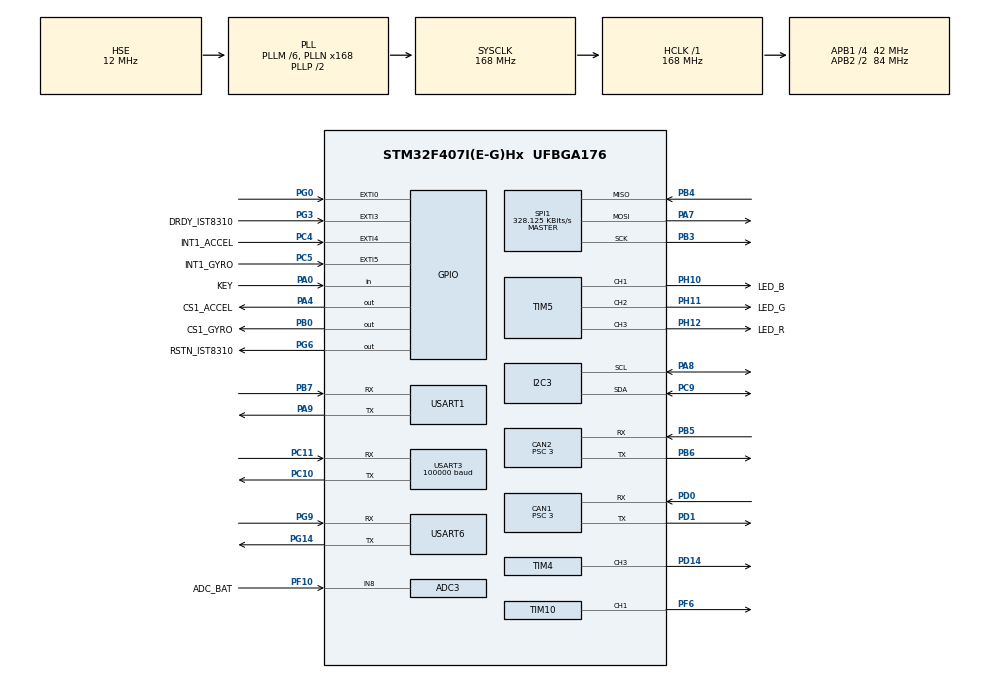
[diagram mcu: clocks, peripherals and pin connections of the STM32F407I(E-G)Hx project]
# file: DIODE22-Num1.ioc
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ADC1.Channel-0\#ChannelRegularConversion=ADC_CHANNEL_TEMPSENSOR
ADC1.ClockPrescaler=ADC_CLOCK_SYNC_PCLK_DIV6
ADC1.NbrOfConversionFlag=1
ADC1.Rank-0\#ChannelRegularConversion=1
ADC1.SamplingTime-0\#ChannelRegularConversion=ADC_SAMPLETIME_3CYCLES
ADC1.master=1
ADC3.Channel-0\#ChannelRegularConversion=ADC_CHANNEL_8
ADC3.ClockPrescaler=ADC_CLOCK_SYNC_PCLK_DIV6
ADC3.NbrOfConversionFlag=1
ADC3.Rank-0\#ChannelRegularConversion=1
ADC3.SamplingTime-0\#ChannelRegularConversion=ADC_SAMPLETIME_3CYCLES
CAN1.ABOM=DISABLE
CAN1.BS1=CAN_BS1_10TQ
CAN1.BS2=CAN_BS2_3TQ
CAN1.CalculateBaudRate=1000000
CAN1.CalculateTimeBit=999.99
CAN1.CalculateTimeQuantum=71.42857142857143
CAN1.Prescaler=3
CAN2.BS1=CAN_BS1_10TQ
CAN2.BS2=CAN_BS2_3TQ
CAN2.CalculateBaudRate=1000000
CAN2.CalculateTimeBit=999.99
CAN2.CalculateTimeQuantum=71.42857142857143
CAN2.Prescaler=3
Dma.Request0=SPI1_RX
Dma.Request1=SPI1_TX
Dma.Request2=USART1_RX
Dma.Request3=USART1_TX
Dma.Request4=USART6_RX
Dma.Request5=USART6_TX
Dma.Request6=USART3_RX
Dma.SPI1_RX.0.Direction=DMA_PERIPH_TO_MEMORY
Dma.SPI1_RX.0.FIFOMode=DMA_FIFOMODE_DISABLE
Dma.SPI1_RX.0.Instance=DMA2_Stream2
Dma.SPI1_RX.0.MemDataAlignment=DMA_MDATAALIGN_BYTE
Dma.SPI1_RX.0.MemInc=DMA_MINC_ENABLE
Dma.SPI1_RX.0.Mode=DMA_NORMAL
Dma.SPI1_RX.0.PeriphDataAlignment=DMA_PDATAALIGN_BYTE
Dma.SPI1_RX.0.PeriphInc=DMA_PINC_DISABLE
Dma.SPI1_RX.0.Priority=DMA_PRIORITY_VERY_HIGH
Dma.SPI1_TX.1.Direction=DMA_MEMORY_TO_PERIPH
Dma.SPI1_TX.1.FIFOMode=DMA_FIFOMODE_DISABLE
Dma.SPI1_TX.1.Instance=DMA2_Stream3
Dma.SPI1_TX.1.MemDataAlignment=DMA_MDATAALIGN_BYTE
Dma.SPI1_TX.1.MemInc=DMA_MINC_ENABLE
Dma.SPI1_TX.1.Mode=DMA_NORMAL
Dma.SPI1_TX.1.PeriphDataAlignment=DMA_PDATAALIGN_BYTE
Dma.SPI1_TX.1.PeriphInc=DMA_PINC_DISABLE
Dma.SPI1_TX.1.Priority=DMA_PRIORITY_HIGH
Dma.USART1_RX.2.Direction=DMA_PERIPH_TO_MEMORY
Dma.USART1_RX.2.FIFOMode=DMA_FIFOMODE_DISABLE
Dma.USART1_RX.2.Instance=DMA2_Stream5
Dma.USART1_RX.2.MemDataAlignment=DMA_MDATAALIGN_BYTE
Dma.USART1_RX.2.MemInc=DMA_MINC_ENABLE
Dma.USART1_RX.2.Mode=DMA_NORMAL
Dma.USART1_RX.2.PeriphDataAlignment=DMA_PDATAALIGN_BYTE
Dma.USART1_RX.2.PeriphInc=DMA_PINC_DISABLE
Dma.USART1_RX.2.Priority=DMA_PRIORITY_HIGH
Dma.USART1_TX.3.Direction=DMA_MEMORY_TO_PERIPH
Dma.USART1_TX.3.FIFOMode=DMA_FIFOMODE_DISABLE
Dma.USART1_TX.3.Instance=DMA2_Stream7
Dma.USART1_TX.3.MemDataAlignment=DMA_MDATAALIGN_BYTE
Dma.USART1_TX.3.MemInc=DMA_MINC_ENABLE
Dma.USART1_TX.3.Mode=DMA_NORMAL
Dma.USART1_TX.3.PeriphDataAlignment=DMA_PDATAALIGN_BYTE
Dma.USART1_TX.3.PeriphInc=DMA_PINC_DISABLE
Dma.USART1_TX.3.Priority=DMA_PRIORITY_HIGH
Dma.USART3_RX.6.Direction=DMA_PERIPH_TO_MEMORY
Dma.USART3_RX.6.FIFOMode=DMA_FIFOMODE_DISABLE
Dma.USART3_RX.6.Instance=DMA1_Stream1
Dma.USART3_RX.6.MemDataAlignment=DMA_MDATAALIGN_BYTE
Dma.USART3_RX.6.MemInc=DMA_MINC_ENABLE
Dma.USART3_RX.6.Mode=DMA_CIRCULAR
Dma.USART3_RX.6.PeriphDataAlignment=DMA_PDATAALIGN_BYTE
Dma.USART3_RX.6.PeriphInc=DMA_PINC_DISABLE
Dma.USART3_RX.6.Priority=DMA_PRIORITY_LOW
Dma.USART6_RX.4.Direction=DMA_PERIPH_TO_MEMORY
Dma.USART6_RX.4.FIFOMode=DMA_FIFOMODE_DISABLE
Dma.USART6_RX.4.Instance=DMA2_Stream1
Dma.USART6_RX.4.MemDataAlignment=DMA_MDATAALIGN_BYTE
Dma.USART6_RX.4.MemInc=DMA_MINC_ENABLE
Dma.USART6_RX.4.Mode=DMA_CIRCULAR
Dma.USART6_RX.4.PeriphDataAlignment=DMA_PDATAALIGN_BYTE
Dma.USART6_RX.4.PeriphInc=DMA_PINC_DISABLE
Dma.USART6_RX.4.Priority=DMA_PRIORITY_LOW
Dma.USART6_TX.5.Direction=DMA_MEMORY_TO_PERIPH
Dma.USART6_TX.5.FIFOMode=DMA_FIFOMODE_DISABLE
Dma.USART6_TX.5.Instance=DMA2_Stream6
Dma.USART6_TX.5.MemDataAlignment=DMA_MDATAALIGN_BYTE
Dma.USART6_TX.5.MemInc=DMA_MINC_ENABLE
Dma.USART6_TX.5.Mode=DMA_NORMAL
Dma.USART6_TX.5.PeriphDataAlignment=DMA_PDATAALIGN_BYTE
Dma.USART6_TX.5.PeriphInc=DMA_PINC_DISABLE
Dma.USART6_TX.5.Priority=DMA_PRIORITY_LOW
FREERTOS.INCLUDE_eTaskGetState=1
FREERTOS.INCLUDE_pcTaskGetTaskName=1
FREERTOS.INCLUDE_uxTaskGetStackHighWaterMark=1
FREERTOS.INCLUDE_vTaskCleanUpResources=1
FREERTOS.INCLUDE_vTaskDelayUntil=1
FREERTOS.INCLUDE_xEventGroupSetBitFromISR=1
FREERTOS.INCLUDE_xQueueGetMutexHolder=1
FREERTOS.INCLUDE_xSemaphoreGetMutexHolder=1
FREERTOS.INCLUDE_xTaskAbortDelay=1
FREERTOS.INCLUDE_xTaskGetCurrentTaskHandle=1
FREERTOS.INCLUDE_xTaskGetHandle=1
FREERTOS.INCLUDE_xTimerPendFunctionCall=1
FREERTOS.Tasks01=defaultTask,0,128,StartDefaultTask,Default,NULL,Dynamic,NULL,NULL
FREERTOS.configMAX_PRIORITIES=15
FREERTOS.configTOTAL_HEAP_SIZE=24576
FREERTOS.configUSE_TIMERS=1
I2C3.I2C_Mode=I2C_Fast
Mcu.Family=STM32F4
Mcu.Name=STM32F407I(E-G)Hx
Mcu.Package=UFBGA176
NVIC.CAN1_RX0_IRQn=true\:5\:0\:false\:false\:true\:true\:true\:true
NVIC.CAN2_RX0_IRQn=true\:5\:0\:false\:false\:true\:true\:true\:true
NVIC.DMA1_Stream1_IRQn=true\:5\:0\:false\:false\:true\:true\:false\:true
NVIC.DMA2_Stream1_IRQn=true\:5\:0\:false\:false\:true\:true\:false\:true
NVIC.DMA2_Stream2_IRQn=true\:5\:0\:false\:false\:true\:true\:false\:true
NVIC.DMA2_Stream3_IRQn=true\:5\:0\:false\:false\:true\:true\:false\:true
NVIC.DMA2_Stream5_IRQn=true\:5\:0\:false\:false\:true\:true\:false\:true
NVIC.DMA2_Stream6_IRQn=true\:5\:0\:false\:false\:true\:true\:false\:true
NVIC.DMA2_Stream7_IRQn=true\:5\:0\:false\:false\:true\:true\:false\:true
NVIC.EXTI0_IRQn=true\:5\:0\:false\:false\:true\:true\:true\:true
NVIC.EXTI3_IRQn=true\:5\:0\:false\:false\:true\:true\:true\:true
NVIC.EXTI4_IRQn=true\:5\:0\:false\:false\:true\:true\:true\:true
NVIC.EXTI9_5_IRQn=true\:5\:0\:false\:false\:true\:true\:true\:true
NVIC.PriorityGroup=NVIC_PRIORITYGROUP_4
NVIC.USART1_IRQn=true\:5\:0\:false\:false\:true\:true\:true\:true
NVIC.USART3_IRQn=true\:5\:0\:false\:false\:true\:true\:true\:true
NVIC.USART6_IRQn=true\:5\:0\:false\:false\:true\:true\:true\:true
PA0-WKUP.GPIO_Label=KEY
PA0-WKUP.GPIO_PuPd=GPIO_PULLUP
PA0-WKUP.Signal=GPIO_Input
PA13.Mode=Serial_Wire
PA13.Signal=SYS_JTMS-SWDIO
PA14.Mode=Serial_Wire
PA14.Signal=SYS_JTCK-SWCLK
PA4.GPIO_Label=CS1_ACCEL
PA4.GPIO_PuPd=GPIO_PULLUP
PA4.GPIO_Speed=GPIO_SPEED_FREQ_HIGH
PA4.PinState=GPIO_PIN_SET
PA4.Signal=GPIO_Output
PA7.Mode=Full_Duplex_Master
PA7.Signal=SPI1_MOSI
PA8.GPIO_Pu=GPIO_PULLUP
PA8.Mode=I2C
PA8.Signal=I2C3_SCL
PA9.Mode=Asynchronous
PA9.Signal=USART1_TX
PB0.GPIO_Label=CS1_GYRO
PB0.GPIO_PuPd=GPIO_PULLUP
PB0.GPIO_Speed=GPIO_SPEED_FREQ_HIGH
PB0.PinState=GPIO_PIN_SET
PB0.Signal=GPIO_Output
PB3.Mode=Full_Duplex_Master
PB3.Signal=SPI1_SCK
PB4.Mode=Full_Duplex_Master
PB4.Signal=SPI1_MISO
PB5.Mode=CAN_Activate
PB5.Signal=CAN2_RX
PB6.Mode=CAN_Activate
PB6.Signal=CAN2_TX
PB7.Mode=Asynchronous
PB7.Signal=USART1_RX
PC10.Mode=Asynchronous
PC10.Signal=USART3_TX
PC11.Mode=Asynchronous
PC11.Signal=USART3_RX
PC4.GPIO_Label=INT1_ACCEL
PC4.GPIO_PuPd=GPIO_PULLUP
PC4.Signal=GPXTI4
PC5.GPIO_Label=INT1_GYRO
PC5.Signal=GPXTI5
PC9.GPIO_Pu=GPIO_PULLUP
PC9.Mode=I2C
PC9.Signal=I2C3_SDA
PD0.Mode=CAN_Activate
PD0.Signal=CAN1_RX
PD1.Mode=CAN_Activate
PD1.Signal=CAN1_TX
PD14.GPIO_Speed=GPIO_SPEED_FREQ_VERY_HIGH
PD14.Signal=S_TIM4_CH3
PF10.GPIO_Label=ADC_BAT
PF10.Mode=IN8
PF10.Signal=ADC3_IN8
PF6.GPIO_PuPd=GPIO_PULLUP
PF6.GPIO_Speed=GPIO_SPEED_FREQ_HIGH
PF6.Signal=S_TIM10_CH1
PG0.GPIO_PuPd=GPIO_PULLUP
PG0.Signal=GPXTI0
PG14.Mode=Asynchronous
PG14.Signal=USART6_TX
PG3.GPIO_Label=DRDY_IST8310
PG3.GPIO_PuPd=GPIO_PULLUP
PG3.Signal=GPXTI3
PG6.GPIO_Label=RSTN_IST8310
PG6.GPIO_PuPd=GPIO_PULLUP
PG6.GPIO_Speed=GPIO_SPEED_FREQ_HIGH
PG6.PinState=GPIO_PIN_SET
PG6.Signal=GPIO_Output
PG9.Mode=Asynchronous
PG9.Signal=USART6_RX
PH0-OSC_IN.Mode=HSE-External-Oscillator
PH0-OSC_IN.Signal=RCC_OSC_IN
PH1-OSC_OUT.Mode=HSE-External-Oscillator
PH1-OSC_OUT.Signal=RCC_OSC_OUT
PH10.GPIO_Label=LED_B
PH10.GPIO_PuPd=GPIO_PULLUP
PH10.GPIO_Speed=GPIO_SPEED_FREQ_VERY_HIGH
PH10.Signal=S_TIM5_CH1
PH11.GPIO_Label=LED_G
PH11.GPIO_PuPd=GPIO_PULLUP
PH11.GPIO_Speed=GPIO_SPEED_FREQ_VERY_HIGH
PH11.Signal=S_TIM5_CH2
PH12.GPIO_Label=LED_R
PH12.GPIO_PuPd=GPIO_PULLUP
PH12.GPIO_Speed=GPIO_SPEED_FREQ_VERY_HIGH
PH12.Signal=S_TIM5_CH3
ProjectManager.HeapSize=0x200
ProjectManager.StackSize=0x400
ProjectManager.TargetToolchain=MDK-ARM V5
RCC.48MHZClocksFreq_Value=84000000
RCC.AHBFreq_Value=168000000
RCC.APB1CLKDivider=RCC_HCLK_DIV4
RCC.APB1Freq_Value=42000000
RCC.APB1TimFreq_Value=84000000
RCC.APB2CLKDivider=RCC_HCLK_DIV2
RCC.APB2Freq_Value=84000000
RCC.APB2TimFreq_Value=168000000
RCC.CortexFreq_Value=168000000
RCC.HCLKFreq_Value=168000000
RCC.HSE_VALUE=12000000
RCC.HSI_VALUE=16000000
RCC.LSE_VALUE=32768
RCC.PLLM=6
RCC.PLLN=168
RCC.PLLSourceVirtual=RCC_PLLSOURCE_HSE
RCC.SYSCLKFreq_VALUE=168000000
RCC.SYSCLKSource=RCC_SYSCLKSOURCE_PLLCLK
RCC.VCOOutputFreq_Value=336000000
SH.S_TIM10_CH1.0=TIM10_CH1,PWM Generation1 CH1
SH.S_TIM4_CH3.0=TIM4_CH3,PWM Generation3 CH3
SH.S_TIM5_CH1.0=TIM5_CH1,PWM Generation1 CH1
SH.S_TIM5_CH2.0=TIM5_CH2,PWM Generation2 CH2
SH.S_TIM5_CH3.0=TIM5_CH3,PWM Generation3 CH3
SPI1.BaudRatePrescaler=SPI_BAUDRATEPRESCALER_256
SPI1.CLKPhase=SPI_PHASE_2EDGE
SPI1.CLKPolarity=SPI_POLARITY_HIGH
SPI1.CalculateBaudRate=328.125 KBits/s
SPI1.Direction=SPI_DIRECTION_2LINES
SPI1.Mode=SPI_MODE_MASTER
SPI1.VirtualType=VM_MASTER
TIM10.Channel=TIM_CHANNEL_1
TIM4.Channel-PWM\ Generation3\ CH3=TIM_CHANNEL_3
TIM5.Channel-PWM\ Generation1\ CH1=TIM_CHANNEL_1
TIM5.Channel-PWM\ Generation2\ CH2=TIM_CHANNEL_2
TIM5.Channel-PWM\ Generation3\ CH3=TIM_CHANNEL_3
USART1.VirtualMode=VM_ASYNC
USART3.BaudRate=100000
USART3.Parity=PARITY_EVEN
USART3.VirtualMode=VM_ASYNC
USART6.VirtualMode=VM_ASYNC
VP_ADC1_TempSens_Input.Mode=IN-TempSens
VP_ADC1_Vref_Input.Mode=IN-Vrefint
VP_CRC_VS_CRC.Mode=CRC_Activate
VP_FREERTOS_VS_CMSIS_V1.Mode=CMSIS_V1
VP_TIM10_VS_ClockSourceINT.Mode=Enable_Timer
VP_TIM4_VS_ClockSourceINT.Mode=Internal
board=custom

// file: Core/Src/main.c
/* USER CODE BEGIN Header */
/**
  ******************************************************************************
  * @file           : main.c
  * @brief          : Main program body
  ******************************************************************************
  * @attention
  *
  * <h2><center>&copy; Copyright (c) 2022 STMicroelectronics.
  * All rights reserved.</center></h2>
  *
  * This software component is licensed by ST under Ultimate Liberty license
  * SLA0044, the "License"; You may not use this file except in compliance with
  * the License. You may obtain a copy of the License at:
  *                             www.st.com/SLA0044
  *
  ******************************************************************************
  */
/* USER CODE END Header */
#include "main.h"
#include "cmsis_os.h"
#include "adc.h"
#include "can.h"
#include "crc.h"
#include "dma.h"
#include "i2c.h"
#include "spi.h"
#include "tim.h"
#include "usart.h"
#include "gpio.h"

/* USER CODE BEGIN PTD */
extern uint8_t tmp_vision;
/* USER CODE END PTD */

void SystemClock_Config(void);
void MX_FREERTOS_Init(void);
/* USER CODE BEGIN PFP */
void BSP_All_Init(void);		// 所有设备初始化
/* USER CODE END PFP */

int main(void)
{

  /* MCU Configuration--------------------------------------------------------*/

  /* Reset of all peripherals, Initializes the Flash interface and the Systick. */
  HAL_Init();

  /* Configure the system clock */
  SystemClock_Config();

  /* Initialize all configured peripherals */
  MX_GPIO_Init();
  MX_DMA_Init();
  MX_ADC1_Init();
  MX_ADC3_Init();
  MX_CAN1_Init();
  MX_CAN2_Init();
  MX_SPI1_Init();
  MX_TIM4_Init();
  MX_TIM5_Init();
  MX_TIM10_Init();
  MX_USART1_UART_Init();
  MX_USART6_UART_Init();
  MX_USART3_UART_Init();
  MX_CRC_Init();
  MX_I2C3_Init();
  /* USER CODE BEGIN 2 */
  BSP_All_Init();
  /* USER CODE END 2 */

  /* Call init function for freertos objects (in freertos.c) */
  MX_FREERTOS_Init();
  /* Start scheduler */
  osKernelStart();

  /* We should never get here as control is now taken by the scheduler */
  /* Infinite loop */
  while (1)
  {

  }
}

void SystemClock_Config(void)
{
  RCC_OscInitTypeDef RCC_OscInitStruct = {0};
  RCC_ClkInitTypeDef RCC_ClkInitStruct = {0};

  /** Configure the main internal regulator output voltage
  */
  __HAL_RCC_PWR_CLK_ENABLE();
  __HAL_PWR_VOLTAGESCALING_CONFIG(PWR_REGULATOR_VOLTAGE_SCALE1);
  /** Initializes the RCC Oscillators according to the specified parameters
  * in the RCC_OscInitTypeDef structure.
  */
  RCC_OscInitStruct.OscillatorType = RCC_OSCILLATORTYPE_HSE;
  RCC_OscInitStruct.HSEState = RCC_HSE_ON;
  RCC_OscInitStruct.PLL.PLLState = RCC_PLL_ON;
  RCC_OscInitStruct.PLL.PLLSource = RCC_PLLSOURCE_HSE;
  RCC_OscInitStruct.PLL.PLLM = 6;
  RCC_OscInitStruct.PLL.PLLN = 168;
  RCC_OscInitStruct.PLL.PLLP = RCC_PLLP_DIV2;
  RCC_OscInitStruct.PLL.PLLQ = 4;
  if (HAL_RCC_OscConfig(&RCC_OscInitStruct) != HAL_OK)
  {
    Error_Handler();
  }
  /** Initializes the CPU, AHB and APB buses clocks
  */
  RCC_ClkInitStruct.ClockType = RCC_CLOCKTYPE_HCLK|RCC_CLOCKTYPE_SYSCLK
                              |RCC_CLOCKTYPE_PCLK1|RCC_CLOCKTYPE_PCLK2;
  RCC_ClkInitStruct.SYSCLKSource = RCC_SYSCLKSOURCE_PLLCLK;
  RCC_ClkInitStruct.AHBCLKDivider = RCC_SYSCLK_DIV1;
  RCC_ClkInitStruct.APB1CLKDivider = RCC_HCLK_DIV4;
  RCC_ClkInitStruct.APB2CLKDivider = RCC_HCLK_DIV2;

  if (HAL_RCC_ClockConfig(&RCC_ClkInitStruct, FLASH_LATENCY_5) != HAL_OK)
  {
    Error_Handler();
  }
}

/* USER CODE BEGIN 4 */
void BSP_All_Init(void)	// 初始化所有硬件层
{
    extern uint8_t aTxVisionMessages[22];

    while(BMI088_init())
    {
       HAL_Delay(100);
    }

    hspi1.Init.BaudRatePrescaler = SPI_BAUDRATEPRESCALER_8;
    if (HAL_SPI_Init(&hspi1) != HAL_OK)Error_Handler();
    mpu_offset_call();

    CAN_FilterInit(&hcan1);	// 初始化CAN1的筛选器
    CAN_FilterInit(&hcan2);	// 初始化CAN2的筛选器

    client_state_now.motion=1;

    extern uint8_t tmp_vision;

    dbus_uart_init();		// 初始化遥控器

    Beep(200);
}
/* USER CODE END 4 */

void Error_Handler(void)
{
  /* USER CODE BEGIN Error_Handler_Debug */
  /* User can add his own implementation to report the HAL error return state */
	 HAL_UART_Receive_DMA(&huart6, &tmp_vision, 1);
  /* USER CODE END Error_Handler_Debug */
}

/************************ (C) COPYRIGHT STMicroelectronics *****END OF FILE****/

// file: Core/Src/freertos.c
/* USER CODE BEGIN Header */
/**
  ******************************************************************************
  * File Name          : freertos.c
  * Description        : Code for freertos applications
  ******************************************************************************
  * @attention
  *
  * <h2><center>&copy; Copyright (c) 2022 STMicroelectronics.
  * All rights reserved.</center></h2>
  *
  * This software component is licensed by ST under Ultimate Liberty license
  * SLA0044, the "License"; You may not use this file except in compliance with
  * the License. You may obtain a copy of the License at:
  *                             www.st.com/SLA0044
  *
  ******************************************************************************
  */
/* USER CODE END Header */

#include "FreeRTOS.h"
#include "task.h"
#include "main.h"
#include "cmsis_os.h"

/* USER CODE BEGIN Includes */
#include "bsp_can.h"
#include "pid.h"
#include "gimbal.h"
#include "bsp_can.h"
#include "JudgeTask.h"
#include "kalman.h"
#include "chassis_task.h"
#include "gimbal_task.h"
#include "infoupdate_task.h"
#include "led_task.h"
#include "outctl_task.h"
#include "task_10hz_task.h"
#include "shoot_task.h"
/* USER CODE END Includes */

osThreadId defaultTaskHandle;

/* USER CODE BEGIN FunctionPrototypes */
osThreadId chassisTaskHandle;
osThreadId gimbalTaskHandle;
osThreadId ledTaskHandle;
osThreadId shootTaskHandle;
osThreadId info_updateTaskHandle;
osThreadId task_10hzTaskHandle;
osThreadId outctlTaskHandle;
/* USER CODE END FunctionPrototypes */

void StartDefaultTask(void const * argument);

void MX_FREERTOS_Init(void); /* (MISRA C 2004 rule 8.1) */

/* GetIdleTaskMemory prototype (linked to static allocation support) */
void vApplicationGetIdleTaskMemory( StaticTask_t **ppxIdleTaskTCBBuffer, StackType_t **ppxIdleTaskStackBuffer, uint32_t *pulIdleTaskStackSize );

/* GetTimerTaskMemory prototype (linked to static allocation support) */
void vApplicationGetTimerTaskMemory( StaticTask_t **ppxTimerTaskTCBBuffer, StackType_t **ppxTimerTaskStackBuffer, uint32_t *pulTimerTaskStackSize );

/* USER CODE BEGIN GET_IDLE_TASK_MEMORY */
static StaticTask_t xIdleTaskTCBBuffer;
static StackType_t xIdleStack[configMINIMAL_STACK_SIZE];

void vApplicationGetIdleTaskMemory( StaticTask_t **ppxIdleTaskTCBBuffer, StackType_t **ppxIdleTaskStackBuffer, uint32_t *pulIdleTaskStackSize )
{
  *ppxIdleTaskTCBBuffer = &xIdleTaskTCBBuffer;
  *ppxIdleTaskStackBuffer = &xIdleStack[0];
  *pulIdleTaskStackSize = configMINIMAL_STACK_SIZE;
  /* place for user code */
}
/* USER CODE END GET_IDLE_TASK_MEMORY */

/* USER CODE BEGIN GET_TIMER_TASK_MEMORY */
static StaticTask_t xTimerTaskTCBBuffer;
static StackType_t xTimerStack[configTIMER_TASK_STACK_DEPTH];

void vApplicationGetTimerTaskMemory( StaticTask_t **ppxTimerTaskTCBBuffer, StackType_t **ppxTimerTaskStackBuffer, uint32_t *pulTimerTaskStackSize )
{
  *ppxTimerTaskTCBBuffer = &xTimerTaskTCBBuffer;
  *ppxTimerTaskStackBuffer = &xTimerStack[0];
  *pulTimerTaskStackSize = configTIMER_TASK_STACK_DEPTH;
  /* place for user code */
}
/* USER CODE END GET_TIMER_TASK_MEMORY */

void MX_FREERTOS_Init(void) {

  /* Create the thread(s) */
  /* definition and creation of defaultTask */
  osThreadDef(defaultTask, StartDefaultTask, osPriorityNormal, 0, 128);
  defaultTaskHandle = osThreadCreate(osThread(defaultTask), NULL);

  /* USER CODE BEGIN RTOS_THREADS */
  /* add threads, ... */
  osThreadDef(chassisTask, chassis_task, osPriorityHigh, 0, 1024);
  chassisTaskHandle = osThreadCreate(osThread(chassisTask), NULL);

//  osThreadDef(gimbalTask, gimbal_task, osPriorityRealtime, 0, 1024);
//  gimbalTaskHandle = osThreadCreate(osThread(gimbalTask), NULL);

//  osThreadDef(shootTask, shoot_task, osPriorityAboveNormal, 0, 128);
//  shootTaskHandle = osThreadCreate(osThread(shootTask), NULL);

//  osThreadDef(info_update, info_update_task, osPriorityNormal, 0, 512);
//  info_updateTaskHandle = osThreadCreate(osThread(info_update), NULL);

//  osThreadDef(task_10hz, task_10hz_task, osPriorityAboveNormal, 0, 256);
//  task_10hzTaskHandle = osThreadCreate(osThread(task_10hz), NULL);

//  osThreadDef(ledTask, led_task, osPriorityNormal, 0, 128);
//  ledTaskHandle = osThreadCreate(osThread(ledTask), NULL);

//  osThreadDef(outctl, outctl_task, osPriorityNormal, 0, 128);
//  outctlTaskHandle = osThreadCreate(osThread(outctl), NULL);

  /* USER CODE END RTOS_THREADS */

}

void StartDefaultTask(void const * argument)
{
  for(;;)
  {
    osDelay(1);
  }
}

/************************ (C) COPYRIGHT STMicroelectronics *****END OF FILE****/
